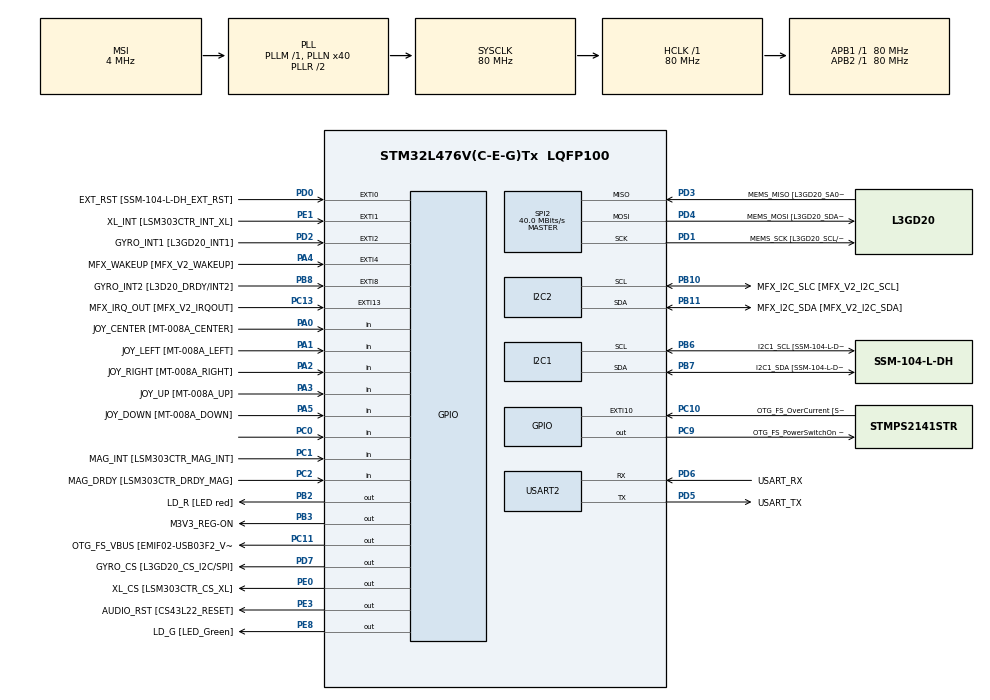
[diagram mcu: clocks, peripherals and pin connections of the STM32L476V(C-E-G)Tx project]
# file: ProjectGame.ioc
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FREERTOS.BinarySemaphores01=myBinarySem01,Static,myBinarySem01ControlBlock
FREERTOS.Tasks01=defaultTask,24,256,StartDefaultTask,Default,NULL,Dynamic,NULL,NULL;myTask02,8,256,StartTask02,Default,NULL,Dynamic,NULL,NULL
FREERTOS.configMINIMAL_STACK_SIZE=256
FREERTOS.configTOTAL_HEAP_SIZE=15000
I2C1.Timing=0x10909CEC
I2C2.Timing=0x10909CEC
Mcu.Family=STM32L4
Mcu.Name=STM32L476V(C-E-G)Tx
Mcu.Package=LQFP100
NVIC.PriorityGroup=NVIC_PRIORITYGROUP_4
NVIC.TIM1_UP_TIM16_IRQn=true\:0\:0\:false\:false\:true\:false\:false\:true
NVIC.TIM2_IRQn=true\:5\:0\:false\:false\:true\:true\:true\:true
NVIC.TimeBase=TIM1_UP_TIM16_IRQn
NVIC.TimeBaseIP=TIM1
PA0.GPIO_Label=JOY_CENTER [MT-008A_CENTER]
PA0.GPIO_Mode=GPIO_MODE_INPUT
PA0.GPIO_PuPd=GPIO_PULLDOWN
PA0.Signal=GPIO_Input
PA1.GPIO_Label=JOY_LEFT [MT-008A_LEFT]
PA1.GPIO_Mode=GPIO_MODE_INPUT
PA1.GPIO_PuPd=GPIO_PULLDOWN
PA1.Signal=GPIO_Input
PA10.GPIO_Label=COM2 [GH08172T_COM2]
PA10.GPIO_Mode=GPIO_MODE_AF_PP
PA10.GPIO_PuPd=GPIO_NOPULL
PA10.GPIO_Speed=GPIO_SPEED_FREQ_LOW
PA10.Signal=LCD_COM2
PA11.GPIO_Label=OTG_FS_DM [EMIF02-USB03F2_D-out]
PA11.GPIO_Mode=GPIO_MODE_AF_PP
PA11.GPIO_PuPd=GPIO_NOPULL
PA11.GPIO_Speed=GPIO_SPEED_FREQ_VERY_HIGH
PA11.Signal=USB_OTG_FS_DM
PA12.GPIO_Label=OTG_FS_DP [EMIF02-USB03F2_D+out]
PA12.GPIO_Mode=GPIO_MODE_AF_PP
PA12.GPIO_PuPd=GPIO_NOPULL
PA12.GPIO_Speed=GPIO_SPEED_FREQ_VERY_HIGH
PA12.Signal=USB_OTG_FS_DP
PA13\ (JTMS-SWDIO).GPIO_Label=SWDIO
PA13\ (JTMS-SWDIO).Mode=Serial_Wire
PA13\ (JTMS-SWDIO).Signal=SYS_JTMS-SWDIO
PA14\ (JTCK-SWCLK).GPIO_Label=SWCLK
PA14\ (JTCK-SWCLK).Mode=Serial_Wire
PA14\ (JTCK-SWCLK).Signal=SYS_JTCK-SWCLK
PA15\ (JTDI).GPIO_Label=SEG10 [GH08172T_SEG10]
PA15\ (JTDI).GPIO_Mode=GPIO_MODE_AF_PP
PA15\ (JTDI).GPIO_PuPd=GPIO_NOPULL
PA15\ (JTDI).GPIO_Speed=GPIO_SPEED_FREQ_LOW
PA15\ (JTDI).Signal=LCD_SEG17
PA2.GPIO_Label=JOY_RIGHT [MT-008A_RIGHT]
PA2.GPIO_Mode=GPIO_MODE_INPUT
PA2.GPIO_PuPd=GPIO_PULLDOWN
PA2.Signal=GPIO_Input
PA3.GPIO_Label=JOY_UP [MT-008A_UP]
PA3.GPIO_Mode=GPIO_MODE_INPUT
PA3.GPIO_PuPd=GPIO_PULLDOWN
PA3.Signal=GPIO_Input
PA4.GPIO_Label=MFX_WAKEUP [MFX_V2_WAKEUP]
PA4.GPIO_ModeDefaultEXTI=GPIO_MODE_EVT_RISING
PA4.GPIO_PuPd=GPIO_NOPULL
PA4.Signal=GPXTI4
PA5.GPIO_Label=JOY_DOWN [MT-008A_DOWN]
PA5.GPIO_Mode=GPIO_MODE_INPUT
PA5.GPIO_PuPd=GPIO_PULLDOWN
PA5.Signal=GPIO_Input
PA6.GPIO_Label=SEG23 [GH08172T_SEG23]
PA6.GPIO_Mode=GPIO_MODE_AF_PP
PA6.GPIO_PuPd=GPIO_NOPULL
PA6.GPIO_Speed=GPIO_SPEED_FREQ_LOW
PA6.Signal=LCD_SEG3
PA7.GPIO_Label=SEG0 [GH08172T_SEG0]
PA7.GPIO_Mode=GPIO_MODE_AF_PP
PA7.GPIO_PuPd=GPIO_NOPULL
PA7.GPIO_Speed=GPIO_SPEED_FREQ_LOW
PA7.Signal=LCD_SEG4
PA8.GPIO_Label=COM0 [GH08172T_COM0]
PA8.GPIO_Mode=GPIO_MODE_AF_PP
PA8.GPIO_PuPd=GPIO_NOPULL
PA8.GPIO_Speed=GPIO_SPEED_FREQ_LOW
PA8.Signal=LCD_COM0
PA9.GPIO_Label=COM1 [GH08172T_COM1]
PA9.GPIO_Mode=GPIO_MODE_AF_PP
PA9.GPIO_PuPd=GPIO_NOPULL
PA9.GPIO_Speed=GPIO_SPEED_FREQ_LOW
PA9.Signal=LCD_COM1
PB0.GPIO_Label=SEG21 [GH08172T_SEG21]
PB0.GPIO_Mode=GPIO_MODE_AF_PP
PB0.GPIO_PuPd=GPIO_NOPULL
PB0.GPIO_Speed=GPIO_SPEED_FREQ_LOW
PB0.Signal=LCD_SEG5
PB1.GPIO_Label=SEG2 [GH08172T_SEG2]
PB1.GPIO_Mode=GPIO_MODE_AF_PP
PB1.GPIO_PuPd=GPIO_NOPULL
PB1.GPIO_Speed=GPIO_SPEED_FREQ_LOW
PB1.Signal=LCD_SEG6
PB10.GPIO_Label=MFX_I2C_SLC [MFX_V2_I2C_SCL]
PB10.GPIO_Mode=GPIO_MODE_AF_OD
PB10.GPIO_PuPdOD=GPIO_PULLUP
PB10.GPIO_Speed=GPIO_SPEED_FREQ_VERY_HIGH
PB10.Mode=I2C
PB10.Signal=I2C2_SCL
PB11.GPIO_Label=MFX_I2C_SDA [MFX_V2_I2C_SDA]
PB11.GPIO_Mode=GPIO_MODE_AF_OD
PB11.GPIO_PuPdOD=GPIO_PULLUP
PB11.GPIO_Speed=GPIO_SPEED_FREQ_VERY_HIGH
PB11.Mode=I2C
PB11.Signal=I2C2_SDA
PB12.GPIO_Label=SEG20 [GH08172T_SEG20]
PB12.GPIO_Mode=GPIO_MODE_AF_PP
PB12.GPIO_PuPd=GPIO_NOPULL
PB12.GPIO_Speed=GPIO_SPEED_FREQ_LOW
PB12.Signal=LCD_SEG12
PB13.GPIO_Label=SEG3 [GH08172T_SEG3]
PB13.GPIO_Mode=GPIO_MODE_AF_PP
PB13.GPIO_PuPd=GPIO_NOPULL
PB13.GPIO_Speed=GPIO_SPEED_FREQ_LOW
PB13.Signal=LCD_SEG13
PB14.GPIO_Label=SEG19 [GH08172T_SEG19]
PB14.GPIO_Mode=GPIO_MODE_AF_PP
PB14.GPIO_PuPd=GPIO_NOPULL
PB14.GPIO_Speed=GPIO_SPEED_FREQ_LOW
PB14.Signal=LCD_SEG14
PB15.GPIO_Label=SEG4 [GH08172T_SEG4]
PB15.GPIO_Mode=GPIO_MODE_AF_PP
PB15.GPIO_PuPd=GPIO_NOPULL
PB15.GPIO_Speed=GPIO_SPEED_FREQ_LOW
PB15.Signal=LCD_SEG15
PB2.GPIO_Label=LD_R [LED red]
PB2.GPIO_ModeDefaultOutputPP=GPIO_MODE_OUTPUT_PP
PB2.GPIO_PuPd=GPIO_PULLUP
PB2.GPIO_Speed=GPIO_SPEED_FREQ_VERY_HIGH
PB2.Signal=GPIO_Output
PB3\ (JTDO-TRACESWO).GPIO_Label=M3V3_REG-ON
PB3\ (JTDO-TRACESWO).GPIO_ModeDefaultOutputPP=GPIO_MODE_OUTPUT_PP
PB3\ (JTDO-TRACESWO).GPIO_PuPd=GPIO_NOPULL
PB3\ (JTDO-TRACESWO).GPIO_Speed=GPIO_SPEED_FREQ_LOW
PB3\ (JTDO-TRACESWO).Signal=GPIO_Output
PB4\ (NJTRST).GPIO_Label=SEG11 [GH08172T_SEG11]
PB4\ (NJTRST).GPIO_Mode=GPIO_MODE_AF_PP
PB4\ (NJTRST).GPIO_PuPd=GPIO_NOPULL
PB4\ (NJTRST).GPIO_Speed=GPIO_SPEED_FREQ_LOW
PB4\ (NJTRST).Signal=LCD_SEG8
PB5.GPIO_Label=SEG12 [GH08172T_SEG12]
PB5.GPIO_Mode=GPIO_MODE_AF_PP
PB5.GPIO_PuPd=GPIO_NOPULL
PB5.GPIO_Speed=GPIO_SPEED_FREQ_LOW
PB5.Signal=LCD_SEG9
PB6.GPIO_FM6=__NULL
PB6.GPIO_Label=I2C1_SCL [SSM-104-L-DH_SCL]
PB6.GPIO_Mode=GPIO_MODE_AF_OD
PB6.GPIO_PuPdOD=GPIO_PULLUP
PB6.GPIO_Speed=GPIO_SPEED_FREQ_VERY_HIGH
PB6.Mode=I2C
PB6.Signal=I2C1_SCL
PB7.GPIO_FM7=__NULL
PB7.GPIO_Label=I2C1_SDA [SSM-104-L-DH_SDA]
PB7.GPIO_Mode=GPIO_MODE_AF_OD
PB7.GPIO_PuPdOD=GPIO_PULLUP
PB7.GPIO_Speed=GPIO_SPEED_FREQ_VERY_HIGH
PB7.Mode=I2C
PB7.Signal=I2C1_SDA
PB8.GPIO_Label=GYRO_INT2 [L3D20_DRDY/INT2]
PB8.GPIO_ModeDefaultEXTI=GPIO_MODE_EVT_RISING
PB8.GPIO_PuPd=GPIO_NOPULL
PB8.Signal=GPXTI8
PB9.GPIO_FM9=__NULL
PB9.GPIO_Label=COM3 [GH08172T_COM3]
PB9.GPIO_Mode=GPIO_MODE_AF_PP
PB9.GPIO_PuPd=GPIO_NOPULL
PB9.GPIO_Speed=GPIO_SPEED_FREQ_LOW
PB9.Signal=LCD_COM3
PC0.Signal=GPIO_Input
PC1.GPIO_Label=MAG_INT [LSM303CTR_MAG_INT]
PC1.GPIO_Mode=GPIO_MODE_INPUT
PC1.GPIO_PuPd=GPIO_NOPULL
PC1.Signal=GPIO_Input
PC10.GPIO_Label=OTG_FS_OverCurrent [STMPS2141STR_FAULT]
PC10.GPIO_ModeDefaultEXTI=GPIO_MODE_EVT_RISING
PC10.GPIO_PuPd=GPIO_NOPULL
PC10.Signal=GPXTI10
PC11.GPIO_Label=OTG_FS_VBUS [EMIF02-USB03F2_Vbus]
PC11.GPIO_ModeDefaultOutputPP=GPIO_MODE_OUTPUT_PP
PC11.GPIO_PuPd=GPIO_NOPULL
PC11.GPIO_Speed=GPIO_SPEED_FREQ_LOW
PC11.Signal=GPIO_Output
PC13.GPIO_Label=MFX_IRQ_OUT [MFX_V2_IRQOUT]
PC13.GPIO_ModeDefaultEXTI=GPIO_MODE_EVT_RISING
PC13.GPIO_PuPd=GPIO_NOPULL
PC13.Signal=GPXTI13
PC14-OSC32_IN\ (PC14).Mode=LSE-External-Oscillator
PC14-OSC32_IN\ (PC14).Signal=RCC_OSC32_IN
PC15-OSC32_OUT\ (PC15).Mode=LSE-External-Oscillator
PC15-OSC32_OUT\ (PC15).Signal=RCC_OSC32_OUT
PC2.GPIO_Label=MAG_DRDY [LSM303CTR_DRDY_MAG]
PC2.GPIO_Mode=GPIO_MODE_INPUT
PC2.GPIO_PuPd=GPIO_NOPULL
PC2.Signal=GPIO_Input
PC3.GPIO_Label=VLCD
PC3.GPIO_Mode=GPIO_MODE_AF_PP
PC3.GPIO_PuPd=GPIO_NOPULL
PC3.GPIO_Speed=GPIO_SPEED_FREQ_LOW
PC3.Signal=LCD_VLCD
PC4.GPIO_Label=SEG22 [GH08172T_SEG22]
PC4.GPIO_Mode=GPIO_MODE_AF_PP
PC4.GPIO_PuPd=GPIO_NOPULL
PC4.GPIO_Speed=GPIO_SPEED_FREQ_LOW
PC4.Signal=LCD_SEG22
PC5.GPIO_Label=SEG1 [GH08172T_SEG1]
PC5.GPIO_Mode=GPIO_MODE_AF_PP
PC5.GPIO_PuPd=GPIO_NOPULL
PC5.GPIO_Speed=GPIO_SPEED_FREQ_LOW
PC5.Signal=LCD_SEG23
PC6.GPIO_Label=SEG14 [GH08172T_SEG14]
PC6.GPIO_Mode=GPIO_MODE_AF_PP
PC6.GPIO_PuPd=GPIO_NOPULL
PC6.GPIO_Speed=GPIO_SPEED_FREQ_LOW
PC6.Signal=LCD_SEG24
PC7.GPIO_Label=SEG9 [GH08172T_SEG9]
PC7.GPIO_Mode=GPIO_MODE_AF_PP
PC7.GPIO_PuPd=GPIO_NOPULL
PC7.GPIO_Speed=GPIO_SPEED_FREQ_LOW
PC7.Signal=LCD_SEG25
PC8.GPIO_Label=SEG13 [GH08172T_SEG13]
PC8.GPIO_Mode=GPIO_MODE_AF_PP
PC8.GPIO_PuPd=GPIO_NOPULL
PC8.GPIO_Speed=GPIO_SPEED_FREQ_LOW
PC8.Signal=LCD_SEG26
PC9.GPIO_Label=OTG_FS_PowerSwitchOn [STMPS2141STR_EN]
PC9.GPIO_ModeDefaultOutputPP=GPIO_MODE_OUTPUT_PP
PC9.GPIO_PuPd=GPIO_NOPULL
PC9.GPIO_Speed=GPIO_SPEED_FREQ_LOW
PC9.PinState=GPIO_PIN_SET
PC9.Signal=GPIO_Output
PD0.GPIO_Label=EXT_RST [SSM-104-L-DH_EXT_RST]
PD0.GPIO_ModeDefaultEXTI=GPIO_MODE_EVT_RISING
PD0.GPIO_PuPd=GPIO_NOPULL
PD0.Signal=GPXTI0
PD1.GPIO_Label=MEMS_SCK [L3GD20_SCL/SPC]
PD1.GPIO_Mode=GPIO_MODE_AF_PP
PD1.GPIO_PuPd=GPIO_NOPULL
PD1.GPIO_Speed=GPIO_SPEED_FREQ_VERY_HIGH
PD1.Mode=Full_Duplex_Master
PD1.Signal=SPI2_SCK
PD10.GPIO_Label=SEG17 [GH08172T_SEG17]
PD10.GPIO_Mode=GPIO_MODE_AF_PP
PD10.GPIO_PuPd=GPIO_NOPULL
PD10.GPIO_Speed=GPIO_SPEED_FREQ_LOW
PD10.Signal=LCD_SEG30
PD11.GPIO_Label=SEG6 [GH08172T_SEG6]
PD11.GPIO_Mode=GPIO_MODE_AF_PP
PD11.GPIO_PuPd=GPIO_NOPULL
PD11.GPIO_Speed=GPIO_SPEED_FREQ_LOW
PD11.Signal=LCD_SEG31
PD12.GPIO_Label=SEG16 [GH08172T_SEG16]
PD12.GPIO_Mode=GPIO_MODE_AF_PP
PD12.GPIO_PuPd=GPIO_NOPULL
PD12.GPIO_Speed=GPIO_SPEED_FREQ_LOW
PD12.Signal=LCD_SEG32
PD13.GPIO_Label=SEG7 [GH08172T_SEG7]
PD13.GPIO_Mode=GPIO_MODE_AF_PP
PD13.GPIO_PuPd=GPIO_NOPULL
PD13.GPIO_Speed=GPIO_SPEED_FREQ_LOW
PD13.Signal=LCD_SEG33
PD14.GPIO_Label=SEG15 [GH08172T_SEG15]
PD14.GPIO_Mode=GPIO_MODE_AF_PP
PD14.GPIO_PuPd=GPIO_NOPULL
PD14.GPIO_Speed=GPIO_SPEED_FREQ_LOW
PD14.Signal=LCD_SEG34
PD15.GPIO_Label=SEG8 [GH08172T_SEG8]
PD15.GPIO_Mode=GPIO_MODE_AF_PP
PD15.GPIO_PuPd=GPIO_NOPULL
PD15.GPIO_Speed=GPIO_SPEED_FREQ_LOW
PD15.Signal=LCD_SEG35
PD2.GPIO_Label=GYRO_INT1 [L3GD20_INT1]
PD2.GPIO_ModeDefaultEXTI=GPIO_MODE_EVT_RISING
PD2.GPIO_PuPd=GPIO_NOPULL
PD2.Signal=GPXTI2
PD3.GPIO_Label=MEMS_MISO [L3GD20_SA0/SDO]
PD3.GPIO_Mode=GPIO_MODE_AF_PP
PD3.GPIO_PuPd=GPIO_NOPULL
PD3.GPIO_Speed=GPIO_SPEED_FREQ_VERY_HIGH
PD3.Mode=Full_Duplex_Master
PD3.Signal=SPI2_MISO
PD4.GPIO_Label=MEMS_MOSI [L3GD20_SDA/SDI/SDO]
PD4.GPIO_Mode=GPIO_MODE_AF_PP
PD4.GPIO_PuPd=GPIO_NOPULL
PD4.GPIO_Speed=GPIO_SPEED_FREQ_VERY_HIGH
PD4.Mode=Full_Duplex_Master
PD4.Signal=SPI2_MOSI
PD5.GPIO_Label=USART_TX
PD5.GPIO_Mode=GPIO_MODE_AF_PP
PD5.GPIO_PuPd=GPIO_PULLUP
PD5.GPIO_Speed=GPIO_SPEED_FREQ_VERY_HIGH
PD5.Mode=Asynchronous
PD5.Signal=USART2_TX
PD6.GPIO_Label=USART_RX
PD6.GPIO_Mode=GPIO_MODE_AF_PP
PD6.GPIO_PuPd=GPIO_PULLUP
PD6.GPIO_Speed=GPIO_SPEED_FREQ_VERY_HIGH
PD6.Mode=Asynchronous
PD6.Signal=USART2_RX
PD7.GPIO_Label=GYRO_CS [L3GD20_CS_I2C/SPI]
PD7.GPIO_ModeDefaultOutputPP=GPIO_MODE_OUTPUT_PP
PD7.GPIO_PuPd=GPIO_NOPULL
PD7.GPIO_Speed=GPIO_SPEED_FREQ_VERY_HIGH
PD7.Signal=GPIO_Output
PD8.GPIO_Label=SEG18 [GH08172T_SEG18]
PD8.GPIO_Mode=GPIO_MODE_AF_PP
PD8.GPIO_PuPd=GPIO_NOPULL
PD8.GPIO_Speed=GPIO_SPEED_FREQ_LOW
PD8.Signal=LCD_SEG28
PD9.GPIO_Label=SEG5 [GH08172T_SEG5]
PD9.GPIO_Mode=GPIO_MODE_AF_PP
PD9.GPIO_PuPd=GPIO_NOPULL
PD9.GPIO_Speed=GPIO_SPEED_FREQ_LOW
PD9.Signal=LCD_SEG29
PE0.GPIO_Label=XL_CS [LSM303CTR_CS_XL]
PE0.GPIO_ModeDefaultOutputPP=GPIO_MODE_OUTPUT_PP
PE0.GPIO_PuPd=GPIO_NOPULL
PE0.GPIO_Speed=GPIO_SPEED_FREQ_LOW
PE0.Signal=GPIO_Output
PE1.GPIO_Label=XL_INT [LSM303CTR_INT_XL]
PE1.GPIO_ModeDefaultEXTI=GPIO_MODE_EVT_RISING
PE1.GPIO_PuPd=GPIO_NOPULL
PE1.Signal=GPXTI1
PE10.GPIO_Label=QSPI_CLK [N25Q128A13EF840E_C]
PE10.GPIO_Mode=GPIO_MODE_AF_PP
PE10.GPIO_PuPd=GPIO_NOPULL
PE10.GPIO_Speed=GPIO_SPEED_FREQ_VERY_HIGH
PE10.Signal=QUADSPI_CLK
PE11.GPIO_Label=QSPI_CS [N25Q128A13EF840E_S\#]
PE11.GPIO_Mode=GPIO_MODE_AF_PP
PE11.GPIO_PuPd=GPIO_NOPULL
PE11.GPIO_Speed=GPIO_SPEED_FREQ_VERY_HIGH
PE11.Signal=QUADSPI_NCS
PE12.GPIO_Label=QSPI_D0 [N25Q128A13EF840E_DQ0]
PE12.GPIO_Mode=GPIO_MODE_AF_PP
PE12.GPIO_PuPd=GPIO_NOPULL
PE12.GPIO_Speed=GPIO_SPEED_FREQ_VERY_HIGH
PE12.Signal=QUADSPI_BK1_IO0
PE13.GPIO_Label=QSPI_D1 [N25Q128A13EF840E_DQ1]
PE13.GPIO_Mode=GPIO_MODE_AF_PP
PE13.GPIO_PuPd=GPIO_NOPULL
PE13.GPIO_Speed=GPIO_SPEED_FREQ_VERY_HIGH
PE13.Signal=QUADSPI_BK1_IO1
PE14.GPIO_Label=QSPI_D2 [N25Q128A13EF840E_DQ2]
PE14.GPIO_Mode=GPIO_MODE_AF_PP
PE14.GPIO_PuPd=GPIO_NOPULL
PE14.GPIO_Speed=GPIO_SPEED_FREQ_VERY_HIGH
PE14.Signal=QUADSPI_BK1_IO2
PE15.GPIO_Label=QSPI_D3 [N25Q128A13EF840E_DQ3]
PE15.GPIO_Mode=GPIO_MODE_AF_PP
PE15.GPIO_PuPd=GPIO_NOPULL
PE15.GPIO_Speed=GPIO_SPEED_FREQ_VERY_HIGH
PE15.Signal=QUADSPI_BK1_IO3
PE2.GPIO_Label=SAI1_MCK [CS43L22_MCLK]
PE2.GPIO_Mode=GPIO_MODE_AF_PP
PE2.GPIO_PuPd=GPIO_NOPULL
PE2.GPIO_Speed=GPIO_SPEED_FREQ_VERY_HIGH
PE2.Signal=SAI1_MCLK_A
PE3.GPIO_Label=AUDIO_RST [CS43L22_RESET]
PE3.GPIO_ModeDefaultOutputPP=GPIO_MODE_OUTPUT_PP
PE3.GPIO_PuPd=GPIO_NOPULL
PE3.GPIO_Speed=GPIO_SPEED_FREQ_HIGH
PE3.Signal=GPIO_Output
PE4.GPIO_Label=SAI1_FS [CS43L22_LRCK]
PE4.GPIO_Mode=GPIO_MODE_AF_PP
PE4.GPIO_PuPd=GPIO_NOPULL
PE4.GPIO_Speed=GPIO_SPEED_FREQ_VERY_HIGH
PE4.Signal=SAI1_FS_A
PE5.GPIO_Label=SAI1_SCK [CS43L22_SCLK]
PE5.GPIO_Mode=GPIO_MODE_AF_PP
PE5.GPIO_PuPd=GPIO_NOPULL
PE5.GPIO_Speed=GPIO_SPEED_FREQ_VERY_HIGH
PE5.Signal=SAI1_SCK_A
PE6.GPIO_Label=SAI1_SD [CS43L22_SDIN]
PE6.GPIO_Mode=GPIO_MODE_AF_PP
PE6.GPIO_PuPd=GPIO_NOPULL
PE6.GPIO_Speed=GPIO_SPEED_FREQ_VERY_HIGH
PE6.Signal=SAI1_SD_A
PE7.GPIO_Label=AUDIO_DIN [MP34DT01_DOUT]
PE7.GPIO_Mode=GPIO_MODE_AF_PP
PE7.GPIO_PuPd=GPIO_NOPULL
PE7.GPIO_Speed=GPIO_SPEED_FREQ_VERY_HIGH
PE7.Signal=SAI1_SD_B
PE8.GPIO_Label=LD_G [LED_Green]
PE8.GPIO_ModeDefaultOutputPP=GPIO_MODE_OUTPUT_PP
PE8.GPIO_PuPd=GPIO_PULLUP
PE8.GPIO_Speed=GPIO_SPEED_FREQ_VERY_HIGH
PE8.Signal=GPIO_Output
PE9.GPIO_Label=AUDIO_CLK [MP34DT01_CLK]
PE9.GPIO_Mode=GPIO_MODE_AF_PP
PE9.GPIO_PuPd=GPIO_NOPULL
PE9.GPIO_Speed=GPIO_SPEED_FREQ_LOW
PE9.Signal=SAI1_FS_B
PH0-OSC_IN\ (PH0).Mode=HSE-External-Oscillator
PH0-OSC_IN\ (PH0).Signal=RCC_OSC_IN
PH1-OSC_OUT\ (PH1).Mode=HSE-External-Oscillator
PH1-OSC_OUT\ (PH1).Signal=RCC_OSC_OUT
ProjectManager.HeapSize=0x200
ProjectManager.StackSize=0x400
ProjectManager.TargetToolchain=STM32CubeIDE
RCC.ADCFreq_Value=32000000
RCC.AHBFreq_Value=80000000
RCC.APB1Freq_Value=80000000
RCC.APB1TimFreq_Value=80000000
RCC.APB2Freq_Value=80000000
RCC.APB2TimFreq_Value=80000000
RCC.CortexFreq_Value=80000000
RCC.HCLKFreq_Value=80000000
RCC.HSE_VALUE=8000000
RCC.HSI_VALUE=16000000
RCC.MSI_VALUE=4000000
RCC.PLLN=40
RCC.PLLSAI1N=16
RCC.PREFETCH_ENABLE=1
RCC.SYSCLKFreq_VALUE=80000000
RCC.SYSCLKSource=RCC_SYSCLKSOURCE_PLLCLK
RCC.USBFreq_Value=32000000
RCC.VCOOutputFreq_Value=160000000
SPI2.CalculateBaudRate=40.0 MBits/s
SPI2.Direction=SPI_DIRECTION_2LINES
SPI2.Mode=SPI_MODE_MASTER
SPI2.VirtualType=VM_MASTER
TIM2.AutoReloadPreload=TIM_AUTORELOAD_PRELOAD_ENABLE
TIM2.Period=100
TIM2.Prescaler=7999
USART2.VirtualMode-Asynchronous=VM_ASYNC
VP_FREERTOS_VS_CMSIS_V2.Mode=CMSIS_V2
VP_RNG_VS_RNG.Mode=RNG_Activate
VP_SYS_VS_tim1.Mode=TIM1
VP_TIM2_VS_ClockSourceINT.Mode=Internal
board=STM32L476G-DISCO

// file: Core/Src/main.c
/* USER CODE BEGIN Header */
/**
  ******************************************************************************
  * @file           : main.c
  * @brief          : Main program body
  ******************************************************************************
  * @attention
  *
  * <h2><center>&copy; Copyright (c) 2020 STMicroelectronics.
  * All rights reserved.</center></h2>
  *
  * This software component is licensed by ST under Ultimate Liberty license
  * SLA0044, the "License"; You may not use this file except in compliance with
  * the License. You may obtain a copy of the License at:
  *                             www.st.com/SLA0044
  *
  ******************************************************************************
  */
/* USER CODE END Header */

#include "main.h"
#include "cmsis_os.h"

/* USER CODE BEGIN Includes */
#include <stdio.h>
#include <string.h>
#include <math.h>

#include "game.h"
#include "stm32l476g_discovery.h"
#include "stm32l476g_discovery_gyroscope.h"
/* USER CODE END Includes */

typedef StaticSemaphore_t osStaticSemaphoreDef_t;

/* USER CODE BEGIN PD */
#define UART_BUFFER_SIZE (80)

/* USER CODE END PD */

I2C_HandleTypeDef hi2c1;
I2C_HandleTypeDef hi2c2;

RNG_HandleTypeDef hrng;

SPI_HandleTypeDef hspi2;

TIM_HandleTypeDef htim2;

UART_HandleTypeDef huart2;

/* Definitions for defaultTask */
osThreadId_t defaultTaskHandle;
const osThreadAttr_t defaultTask_attributes = {
  .name = "defaultTask",
  .priority = (osPriority_t) osPriorityNormal,
  .stack_size = 256 * 4
};
/* Definitions for myTask02 */
osThreadId_t myTask02Handle;
const osThreadAttr_t myTask02_attributes = {
  .name = "myTask02",
  .priority = (osPriority_t) osPriorityLow,
  .stack_size = 256 * 4
};
/* Definitions for myBinarySem01 */
osSemaphoreId_t myBinarySem01Handle;
osStaticSemaphoreDef_t myBinarySem01ControlBlock;
const osSemaphoreAttr_t myBinarySem01_attributes = {
  .name = "myBinarySem01",
  .cb_mem = &myBinarySem01ControlBlock,
  .cb_size = sizeof(myBinarySem01ControlBlock),
};
/* USER CODE BEGIN PV */
float gbl_buffer[3] = {0};
//volatile uint32_t master_tick = 0;
uint8_t gbl_uart2_transmitBuffer[UART_BUFFER_SIZE];
uint8_t gbl_uart2_receiveBuffer[UART_BUFFER_SIZE];
volatile char game_board[BOARD_HEIGHT][BOARD_WIDTH+1];
volatile Total_MovementS movements;
volatile PositionsS positions;
volatile int calced_x;
volatile int calced_y;
/* USER CODE END PV */

void SystemClock_Config(void);
static void MX_GPIO_Init(void);
static void MX_I2C1_Init(void);
static void MX_I2C2_Init(void);
static void MX_RNG_Init(void);
static void MX_SPI2_Init(void);
static void MX_USART2_UART_Init(void);
static void MX_TIM2_Init(void);
void StartDefaultTask(void *argument);
void StartTask02(void *argument);

/* USER CODE BEGIN 0 */

/**
 * Sets the home cursor at the current location
 */
void set_home(void)
{
	sprintf((char*)gbl_uart2_transmitBuffer,"\x1b[s");
	HAL_UART_Transmit(&huart2, gbl_uart2_transmitBuffer, strlen((char *)gbl_uart2_transmitBuffer),100);
}
/**
 * Sets the cursor the the previously set home position
 */
void return_home(void)
{
	sprintf((char*)gbl_uart2_transmitBuffer,"\x1b[u");
	HAL_UART_Transmit(&huart2, gbl_uart2_transmitBuffer, strlen((char *)gbl_uart2_transmitBuffer),100);
}

/**
 * Moves the cursor the left or right based on x and up or down based on y.
 */
void move_cursor(int x, int y)
{
	// Move cursor forward
	if (x > 0)
	{
		sprintf((char*)gbl_uart2_transmitBuffer,"\x1b[%dC",abs(x));
		HAL_UART_Transmit(&huart2, gbl_uart2_transmitBuffer, strlen((char *)gbl_uart2_transmitBuffer),100);
	}
	// Move cursor backward
	else if (x< 0)
	{
		sprintf((char*)gbl_uart2_transmitBuffer,"\x1b[%dD",abs(x));
		HAL_UART_Transmit(&huart2, gbl_uart2_transmitBuffer, strlen((char *)gbl_uart2_transmitBuffer),100);
	}
	// Move cursor up
	if (y > 0)
	{
		sprintf((char*)gbl_uart2_transmitBuffer,"\x1b[%dA",abs(y));
		HAL_UART_Transmit(&huart2, gbl_uart2_transmitBuffer, strlen((char *)gbl_uart2_transmitBuffer),100);
	}
	// Move cursor down
	else if (y < 0)
	{
		sprintf((char*)gbl_uart2_transmitBuffer,"\x1b[%dB",abs(y));
		HAL_UART_Transmit(&huart2, gbl_uart2_transmitBuffer, strlen((char *)gbl_uart2_transmitBuffer),100);
	}

}

/**
 * Moves the cursor to the given x and y and then replaces the character with update_char
 * Top left most unit is (1,1)
 */
void draw_char(int x, int y, char update_char)
{
	return_home();
	int true_x = x - 1;
	int true_y = (y*-1) + 1;
	move_cursor(true_x,true_y);
	sprintf((char*)gbl_uart2_transmitBuffer,"\x7F%c",update_char);
	HAL_UART_Transmit(&huart2, gbl_uart2_transmitBuffer, strlen((char *)gbl_uart2_transmitBuffer),100);

	return_home();
}
/* USER CODE END 0 */

int main(void)
{

  /* MCU Configuration--------------------------------------------------------*/

  /* Reset of all peripherals, Initializes the Flash interface and the Systick. */
  HAL_Init();

  /* Configure the system clock */
  SystemClock_Config();

  /* Initialize all configured peripherals */
  MX_GPIO_Init();
  MX_I2C1_Init();
  MX_I2C2_Init();
  MX_RNG_Init();
  MX_SPI2_Init();
  MX_USART2_UART_Init();
  MX_TIM2_Init();
  /* USER CODE BEGIN 2 */
  HAL_TIM_Base_Start_IT(&htim2);
	/* Init the uart Buffers */
	for (unsigned char i = 0; i < UART_BUFFER_SIZE; i++)  {
       gbl_uart2_transmitBuffer[i] = '0' + i;
       gbl_uart2_receiveBuffer[i] = 0;
    }
	sprintf((char*)gbl_uart2_transmitBuffer,"Project Game Startup\a\n\r");
	HAL_UART_Transmit(&huart2, gbl_uart2_transmitBuffer, strlen((char *)gbl_uart2_transmitBuffer),100);

  /* USER CODE END 2 */

  /* Init scheduler */
  osKernelInitialize();

  /* Create the semaphores(s) */
  /* creation of myBinarySem01 */
  myBinarySem01Handle = osSemaphoreNew(1, 1, &myBinarySem01_attributes);

  /* Create the thread(s) */
  /* creation of defaultTask */
  defaultTaskHandle = osThreadNew(StartDefaultTask, NULL, &defaultTask_attributes);

  /* creation of myTask02 */
  myTask02Handle = osThreadNew(StartTask02, NULL, &myTask02_attributes);

  /* Start scheduler */
  osKernelStart();

  /* We should never get here as control is now taken by the scheduler */
  /* Infinite loop */
  while (1)
  {

  }
}

void SystemClock_Config(void)
{
  RCC_OscInitTypeDef RCC_OscInitStruct = {0};
  RCC_ClkInitTypeDef RCC_ClkInitStruct = {0};
  RCC_PeriphCLKInitTypeDef PeriphClkInit = {0};

  /** Configure LSE Drive Capability
  */
  HAL_PWR_EnableBkUpAccess();
  __HAL_RCC_LSEDRIVE_CONFIG(RCC_LSEDRIVE_LOW);
  /** Initializes the CPU, AHB and APB busses clocks
  */
  RCC_OscInitStruct.OscillatorType = RCC_OSCILLATORTYPE_LSE|RCC_OSCILLATORTYPE_MSI;
  RCC_OscInitStruct.LSEState = RCC_LSE_ON;
  RCC_OscInitStruct.MSIState = RCC_MSI_ON;
  RCC_OscInitStruct.MSICalibrationValue = 0;
  RCC_OscInitStruct.MSIClockRange = RCC_MSIRANGE_6;
  RCC_OscInitStruct.PLL.PLLState = RCC_PLL_ON;
  RCC_OscInitStruct.PLL.PLLSource = RCC_PLLSOURCE_MSI;
  RCC_OscInitStruct.PLL.PLLM = 1;
  RCC_OscInitStruct.PLL.PLLN = 40;
  RCC_OscInitStruct.PLL.PLLP = RCC_PLLP_DIV7;
  RCC_OscInitStruct.PLL.PLLQ = RCC_PLLQ_DIV2;
  RCC_OscInitStruct.PLL.PLLR = RCC_PLLR_DIV2;
  if (HAL_RCC_OscConfig(&RCC_OscInitStruct) != HAL_OK)
  {
    Error_Handler();
  }
  /** Initializes the CPU, AHB and APB busses clocks
  */
  RCC_ClkInitStruct.ClockType = RCC_CLOCKTYPE_HCLK|RCC_CLOCKTYPE_SYSCLK
                              |RCC_CLOCKTYPE_PCLK1|RCC_CLOCKTYPE_PCLK2;
  RCC_ClkInitStruct.SYSCLKSource = RCC_SYSCLKSOURCE_PLLCLK;
  RCC_ClkInitStruct.AHBCLKDivider = RCC_SYSCLK_DIV1;
  RCC_ClkInitStruct.APB1CLKDivider = RCC_HCLK_DIV1;
  RCC_ClkInitStruct.APB2CLKDivider = RCC_HCLK_DIV1;

  if (HAL_RCC_ClockConfig(&RCC_ClkInitStruct, FLASH_LATENCY_4) != HAL_OK)
  {
    Error_Handler();
  }
  PeriphClkInit.PeriphClockSelection = RCC_PERIPHCLK_USART2|RCC_PERIPHCLK_I2C1
                              |RCC_PERIPHCLK_I2C2|RCC_PERIPHCLK_RNG;
  PeriphClkInit.Usart2ClockSelection = RCC_USART2CLKSOURCE_PCLK1;
  PeriphClkInit.I2c1ClockSelection = RCC_I2C1CLKSOURCE_PCLK1;
  PeriphClkInit.I2c2ClockSelection = RCC_I2C2CLKSOURCE_PCLK1;
  PeriphClkInit.RngClockSelection = RCC_RNGCLKSOURCE_PLLSAI1;
  PeriphClkInit.PLLSAI1.PLLSAI1Source = RCC_PLLSOURCE_MSI;
  PeriphClkInit.PLLSAI1.PLLSAI1M = 1;
  PeriphClkInit.PLLSAI1.PLLSAI1N = 16;
  PeriphClkInit.PLLSAI1.PLLSAI1P = RCC_PLLP_DIV7;
  PeriphClkInit.PLLSAI1.PLLSAI1Q = RCC_PLLQ_DIV2;
  PeriphClkInit.PLLSAI1.PLLSAI1R = RCC_PLLR_DIV2;
  PeriphClkInit.PLLSAI1.PLLSAI1ClockOut = RCC_PLLSAI1_48M2CLK;
  if (HAL_RCCEx_PeriphCLKConfig(&PeriphClkInit) != HAL_OK)
  {
    Error_Handler();
  }
  /** Configure the main internal regulator output voltage
  */
  if (HAL_PWREx_ControlVoltageScaling(PWR_REGULATOR_VOLTAGE_SCALE1) != HAL_OK)
  {
    Error_Handler();
  }
  /** Enable MSI Auto calibration
  */
  HAL_RCCEx_EnableMSIPLLMode();
}

static void MX_I2C1_Init(void)
{

  hi2c1.Instance = I2C1;
  hi2c1.Init.Timing = 0x10909CEC;
  hi2c1.Init.OwnAddress1 = 0;
  hi2c1.Init.AddressingMode = I2C_ADDRESSINGMODE_7BIT;
  hi2c1.Init.DualAddressMode = I2C_DUALADDRESS_DISABLE;
  hi2c1.Init.OwnAddress2 = 0;
  hi2c1.Init.OwnAddress2Masks = I2C_OA2_NOMASK;
  hi2c1.Init.GeneralCallMode = I2C_GENERALCALL_DISABLE;
  hi2c1.Init.NoStretchMode = I2C_NOSTRETCH_DISABLE;
  if (HAL_I2C_Init(&hi2c1) != HAL_OK)
  {
    Error_Handler();
  }
  /** Configure Analogue filter
  */
  if (HAL_I2CEx_ConfigAnalogFilter(&hi2c1, I2C_ANALOGFILTER_ENABLE) != HAL_OK)
  {
    Error_Handler();
  }
  /** Configure Digital filter
  */
  if (HAL_I2CEx_ConfigDigitalFilter(&hi2c1, 0) != HAL_OK)
  {
    Error_Handler();
  }

}

static void MX_I2C2_Init(void)
{

  hi2c2.Instance = I2C2;
  hi2c2.Init.Timing = 0x10909CEC;
  hi2c2.Init.OwnAddress1 = 0;
  hi2c2.Init.AddressingMode = I2C_ADDRESSINGMODE_7BIT;
  hi2c2.Init.DualAddressMode = I2C_DUALADDRESS_DISABLE;
  hi2c2.Init.OwnAddress2 = 0;
  hi2c2.Init.OwnAddress2Masks = I2C_OA2_NOMASK;
  hi2c2.Init.GeneralCallMode = I2C_GENERALCALL_DISABLE;
  hi2c2.Init.NoStretchMode = I2C_NOSTRETCH_DISABLE;
  if (HAL_I2C_Init(&hi2c2) != HAL_OK)
  {
    Error_Handler();
  }
  /** Configure Analogue filter
  */
  if (HAL_I2CEx_ConfigAnalogFilter(&hi2c2, I2C_ANALOGFILTER_ENABLE) != HAL_OK)
  {
    Error_Handler();
  }
  /** Configure Digital filter
  */
  if (HAL_I2CEx_ConfigDigitalFilter(&hi2c2, 0) != HAL_OK)
  {
    Error_Handler();
  }

}

static void MX_RNG_Init(void)
{

  hrng.Instance = RNG;
  if (HAL_RNG_Init(&hrng) != HAL_OK)
  {
    Error_Handler();
  }

}

static void MX_SPI2_Init(void)
{

  /* SPI2 parameter configuration*/
  hspi2.Instance = SPI2;
  hspi2.Init.Mode = SPI_MODE_MASTER;
  hspi2.Init.Direction = SPI_DIRECTION_2LINES;
  hspi2.Init.DataSize = SPI_DATASIZE_4BIT;
  hspi2.Init.CLKPolarity = SPI_POLARITY_LOW;
  hspi2.Init.CLKPhase = SPI_PHASE_1EDGE;
  hspi2.Init.NSS = SPI_NSS_SOFT;
  hspi2.Init.BaudRatePrescaler = SPI_BAUDRATEPRESCALER_2;
  hspi2.Init.FirstBit = SPI_FIRSTBIT_MSB;
  hspi2.Init.TIMode = SPI_TIMODE_DISABLE;
  hspi2.Init.CRCCalculation = SPI_CRCCALCULATION_DISABLE;
  hspi2.Init.CRCPolynomial = 7;
  hspi2.Init.CRCLength = SPI_CRC_LENGTH_DATASIZE;
  hspi2.Init.NSSPMode = SPI_NSS_PULSE_ENABLE;
  if (HAL_SPI_Init(&hspi2) != HAL_OK)
  {
    Error_Handler();
  }

}

static void MX_TIM2_Init(void)
{

  TIM_ClockConfigTypeDef sClockSourceConfig = {0};
  TIM_MasterConfigTypeDef sMasterConfig = {0};

  htim2.Instance = TIM2;
  htim2.Init.Prescaler = 7999;
  htim2.Init.CounterMode = TIM_COUNTERMODE_UP;
  htim2.Init.Period = 100;
  htim2.Init.ClockDivision = TIM_CLOCKDIVISION_DIV1;
  htim2.Init.AutoReloadPreload = TIM_AUTORELOAD_PRELOAD_ENABLE;
  if (HAL_TIM_Base_Init(&htim2) != HAL_OK)
  {
    Error_Handler();
  }
  sClockSourceConfig.ClockSource = TIM_CLOCKSOURCE_INTERNAL;
  if (HAL_TIM_ConfigClockSource(&htim2, &sClockSourceConfig) != HAL_OK)
  {
    Error_Handler();
  }
  sMasterConfig.MasterOutputTrigger = TIM_TRGO_RESET;
  sMasterConfig.MasterSlaveMode = TIM_MASTERSLAVEMODE_DISABLE;
  if (HAL_TIMEx_MasterConfigSynchronization(&htim2, &sMasterConfig) != HAL_OK)
  {
    Error_Handler();
  }
  /* USER CODE BEGIN TIM2_Init 2 */
  HAL_NVIC_SetPriority(TIM2_IRQn,0,0);
  HAL_NVIC_EnableIRQ(TIM2_IRQn);
  /* USER CODE END TIM2_Init 2 */

}

static void MX_USART2_UART_Init(void)
{

  huart2.Instance = USART2;
  huart2.Init.BaudRate = 115200;
  huart2.Init.WordLength = UART_WORDLENGTH_8B;
  huart2.Init.StopBits = UART_STOPBITS_1;
  huart2.Init.Parity = UART_PARITY_NONE;
  huart2.Init.Mode = UART_MODE_TX_RX;
  huart2.Init.HwFlowCtl = UART_HWCONTROL_NONE;
  huart2.Init.OverSampling = UART_OVERSAMPLING_16;
  huart2.Init.OneBitSampling = UART_ONE_BIT_SAMPLE_DISABLE;
  huart2.AdvancedInit.AdvFeatureInit = UART_ADVFEATURE_NO_INIT;
  if (HAL_UART_Init(&huart2) != HAL_OK)
  {
    Error_Handler();
  }

}

static void MX_GPIO_Init(void)
{
  GPIO_InitTypeDef GPIO_InitStruct = {0};

  /* GPIO Ports Clock Enable */
  __HAL_RCC_GPIOE_CLK_ENABLE();
  __HAL_RCC_GPIOC_CLK_ENABLE();
  __HAL_RCC_GPIOH_CLK_ENABLE();
  __HAL_RCC_GPIOA_CLK_ENABLE();
  __HAL_RCC_GPIOB_CLK_ENABLE();
  __HAL_RCC_GPIOD_CLK_ENABLE();

  /*Configure GPIO pin Output Level */
  HAL_GPIO_WritePin(GPIOE, AUDIO_RST_Pin|LD_G_Pin|XL_CS_Pin, GPIO_PIN_RESET);

  /*Configure GPIO pin Output Level */
  HAL_GPIO_WritePin(GPIOB, LD_R_Pin|M3V3_REG_ON_Pin, GPIO_PIN_RESET);

  /*Configure GPIO pin Output Level */
  HAL_GPIO_WritePin(OTG_FS_PowerSwitchOn_GPIO_Port, OTG_FS_PowerSwitchOn_Pin, GPIO_PIN_SET);

  /*Configure GPIO pin Output Level */
  HAL_GPIO_WritePin(OTG_FS_VBUS_GPIO_Port, OTG_FS_VBUS_Pin, GPIO_PIN_RESET);

  /*Configure GPIO pin Output Level */
  HAL_GPIO_WritePin(GYRO_CS_GPIO_Port, GYRO_CS_Pin, GPIO_PIN_RESET);

  /*Configure GPIO pins : SAI1_MCK_Pin SAI1_FS_Pin SAI1_SCK_Pin SAI1_SD_Pin
                           AUDIO_DIN_Pin */
  GPIO_InitStruct.Pin = SAI1_MCK_Pin|SAI1_FS_Pin|SAI1_SCK_Pin|SAI1_SD_Pin
                          |AUDIO_DIN_Pin;
  GPIO_InitStruct.Mode = GPIO_MODE_AF_PP;
  GPIO_InitStruct.Pull = GPIO_NOPULL;
  GPIO_InitStruct.Speed = GPIO_SPEED_FREQ_VERY_HIGH;
  GPIO_InitStruct.Alternate = GPIO_AF13_SAI1;
  HAL_GPIO_Init(GPIOE, &GPIO_InitStruct);

  /*Configure GPIO pin : AUDIO_RST_Pin */
  GPIO_InitStruct.Pin = AUDIO_RST_Pin;
  GPIO_InitStruct.Mode = GPIO_MODE_OUTPUT_PP;
  GPIO_InitStruct.Pull = GPIO_NOPULL;
  GPIO_InitStruct.Speed = GPIO_SPEED_FREQ_HIGH;
  HAL_GPIO_Init(AUDIO_RST_GPIO_Port, &GPIO_InitStruct);

  /*Configure GPIO pins : MFX_IRQ_OUT_Pin OTG_FS_OverCurrent_Pin */
  GPIO_InitStruct.Pin = MFX_IRQ_OUT_Pin|OTG_FS_OverCurrent_Pin;
  GPIO_InitStruct.Mode = GPIO_MODE_EVT_RISING;
  GPIO_InitStruct.Pull = GPIO_NOPULL;
  HAL_GPIO_Init(GPIOC, &GPIO_InitStruct);

  /*Configure GPIO pins : PC0 MAG_INT_Pin MAG_DRDY_Pin */
  GPIO_InitStruct.Pin = GPIO_PIN_0|MAG_INT_Pin|MAG_DRDY_Pin;
  GPIO_InitStruct.Mode = GPIO_MODE_INPUT;
  GPIO_InitStruct.Pull = GPIO_NOPULL;
  HAL_GPIO_Init(GPIOC, &GPIO_InitStruct);

  /*Configure GPIO pins : VLCD_Pin SEG22_Pin SEG1_Pin SEG14_Pin
                           SEG9_Pin SEG13_Pin */
  GPIO_InitStruct.Pin = VLCD_Pin|SEG22_Pin|SEG1_Pin|SEG14_Pin
                          |SEG9_Pin|SEG13_Pin;
  GPIO_InitStruct.Mode = GPIO_MODE_AF_PP;
  GPIO_InitStruct.Pull = GPIO_NOPULL;
  GPIO_InitStruct.Speed = GPIO_SPEED_FREQ_LOW;
  GPIO_InitStruct.Alternate = GPIO_AF11_LCD;
  HAL_GPIO_Init(GPIOC, &GPIO_InitStruct);

  /*Configure GPIO pins : JOY_CENTER_Pin JOY_LEFT_Pin JOY_RIGHT_Pin JOY_UP_Pin
                           JOY_DOWN_Pin */
  GPIO_InitStruct.Pin = JOY_CENTER_Pin|JOY_LEFT_Pin|JOY_RIGHT_Pin|JOY_UP_Pin
                          |JOY_DOWN_Pin;
  GPIO_InitStruct.Mode = GPIO_MODE_INPUT;
  GPIO_InitStruct.Pull = GPIO_PULLDOWN;
  HAL_GPIO_Init(GPIOA, &GPIO_InitStruct);

  /*Configure GPIO pin : MFX_WAKEUP_Pin */
  GPIO_InitStruct.Pin = MFX_WAKEUP_Pin;
  GPIO_InitStruct.Mode = GPIO_MODE_EVT_RISING;
  GPIO_InitStruct.Pull = GPIO_NOPULL;
  HAL_GPIO_Init(MFX_WAKEUP_GPIO_Port, &GPIO_InitStruct);

  /*Configure GPIO pins : SEG23_Pin SEG0_Pin COM0_Pin COM1_Pin
                           COM2_Pin SEG10_Pin */
  GPIO_InitStruct.Pin = SEG23_Pin|SEG0_Pin|COM0_Pin|COM1_Pin
                          |COM2_Pin|SEG10_Pin;
  GPIO_InitStruct.Mode = GPIO_MODE_AF_PP;
  GPIO_InitStruct.Pull = GPIO_NOPULL;
  GPIO_InitStruct.Speed = GPIO_SPEED_FREQ_LOW;
  GPIO_InitStruct.Alternate = GPIO_AF11_LCD;
  HAL_GPIO_Init(GPIOA, &GPIO_InitStruct);

  /*Configure GPIO pins : SEG21_Pin SEG2_Pin SEG20_Pin SEG3_Pin
                           SEG19_Pin SEG4_Pin SEG11_Pin SEG12_Pin
                           COM3_Pin */
  GPIO_InitStruct.Pin = SEG21_Pin|SEG2_Pin|SEG20_Pin|SEG3_Pin
                          |SEG19_Pin|SEG4_Pin|SEG11_Pin|SEG12_Pin
                          |COM3_Pin;
  GPIO_InitStruct.Mode = GPIO_MODE_AF_PP;
  GPIO_InitStruct.Pull = GPIO_NOPULL;
  GPIO_InitStruct.Speed = GPIO_SPEED_FREQ_LOW;
  GPIO_InitStruct.Alternate = GPIO_AF11_LCD;
  HAL_GPIO_Init(GPIOB, &GPIO_InitStruct);

  /*Configure GPIO pin : LD_R_Pin */
  GPIO_InitStruct.Pin = LD_R_Pin;
  GPIO_InitStruct.Mode = GPIO_MODE_OUTPUT_PP;
  GPIO_InitStruct.Pull = GPIO_PULLUP;
  GPIO_InitStruct.Speed = GPIO_SPEED_FREQ_VERY_HIGH;
  HAL_GPIO_Init(LD_R_GPIO_Port, &GPIO_InitStruct);

  /*Configure GPIO pin : LD_G_Pin */
  GPIO_InitStruct.Pin = LD_G_Pin;
  GPIO_InitStruct.Mode = GPIO_MODE_OUTPUT_PP;
  GPIO_InitStruct.Pull = GPIO_PULLUP;
  GPIO_InitStruct.Speed = GPIO_SPEED_FREQ_VERY_HIGH;
  HAL_GPIO_Init(LD_G_GPIO_Port, &GPIO_InitStruct);

  /*Configure GPIO pin : AUDIO_CLK_Pin */
  GPIO_InitStruct.Pin = AUDIO_CLK_Pin;
  GPIO_InitStruct.Mode = GPIO_MODE_AF_PP;
  GPIO_InitStruct.Pull = GPIO_NOPULL;
  GPIO_InitStruct.Speed = GPIO_SPEED_FREQ_LOW;
  GPIO_InitStruct.Alternate = GPIO_AF13_SAI1;
  HAL_GPIO_Init(AUDIO_CLK_GPIO_Port, &GPIO_InitStruct);

  /*Configure GPIO pins : QSPI_CLK_Pin QSPI_CS_Pin QSPI_D0_Pin QSPI_D1_Pin
                           QSPI_D2_Pin QSPI_D3_Pin */
  GPIO_InitStruct.Pin = QSPI_CLK_Pin|QSPI_CS_Pin|QSPI_D0_Pin|QSPI_D1_Pin
                          |QSPI_D2_Pin|QSPI_D3_Pin;
  GPIO_InitStruct.Mode = GPIO_MODE_AF_PP;
  GPIO_InitStruct.Pull = GPIO_NOPULL;
  GPIO_InitStruct.Speed = GPIO_SPEED_FREQ_VERY_HIGH;
  GPIO_InitStruct.Alternate = GPIO_AF10_QUADSPI;
  HAL_GPIO_Init(GPIOE, &GPIO_InitStruct);

  /*Configure GPIO pins : SEG18_Pin SEG5_Pin SEG17_Pin SEG6_Pin
                           SEG16_Pin SEG7_Pin SEG15_Pin SEG8_Pin */
  GPIO_InitStruct.Pin = SEG18_Pin|SEG5_Pin|SEG17_Pin|SEG6_Pin
                          |SEG16_Pin|SEG7_Pin|SEG15_Pin|SEG8_Pin;
  GPIO_InitStruct.Mode = GPIO_MODE_AF_PP;
  GPIO_InitStruct.Pull = GPIO_NOPULL;
  GPIO_InitStruct.Speed = GPIO_SPEED_FREQ_LOW;
  GPIO_InitStruct.Alternate = GPIO_AF11_LCD;
  HAL_GPIO_Init(GPIOD, &GPIO_InitStruct);

  /*Configure GPIO pins : OTG_FS_PowerSwitchOn_Pin OTG_FS_VBUS_Pin */
  GPIO_InitStruct.Pin = OTG_FS_PowerSwitchOn_Pin|OTG_FS_VBUS_Pin;
  GPIO_InitStruct.Mode = GPIO_MODE_OUTPUT_PP;
  GPIO_InitStruct.Pull = GPIO_NOPULL;
  GPIO_InitStruct.Speed = GPIO_SPEED_FREQ_LOW;
  HAL_GPIO_Init(GPIOC, &GPIO_InitStruct);

  /*Configure GPIO pins : OTG_FS_DM_Pin OTG_FS_DP_Pin */
  GPIO_InitStruct.Pin = OTG_FS_DM_Pin|OTG_FS_DP_Pin;
  GPIO_InitStruct.Mode = GPIO_MODE_AF_PP;
  GPIO_InitStruct.Pull = GPIO_NOPULL;
  GPIO_InitStruct.Speed = GPIO_SPEED_FREQ_VERY_HIGH;
  GPIO_InitStruct.Alternate = GPIO_AF10_OTG_FS;
  HAL_GPIO_Init(GPIOA, &GPIO_InitStruct);

  /*Configure GPIO pins : EXT_RST_Pin GYRO_INT1_Pin */
  GPIO_InitStruct.Pin = EXT_RST_Pin|GYRO_INT1_Pin;
  GPIO_InitStruct.Mode = GPIO_MODE_EVT_RISING;
  GPIO_InitStruct.Pull = GPIO_NOPULL;
  HAL_GPIO_Init(GPIOD, &GPIO_InitStruct);

  /*Configure GPIO pin : GYRO_CS_Pin */
  GPIO_InitStruct.Pin = GYRO_CS_Pin;
  GPIO_InitStruct.Mode = GPIO_MODE_OUTPUT_PP;
  GPIO_InitStruct.Pull = GPIO_NOPULL;
  GPIO_InitStruct.Speed = GPIO_SPEED_FREQ_VERY_HIGH;
  HAL_GPIO_Init(GYRO_CS_GPIO_Port, &GPIO_InitStruct);

  /*Configure GPIO pin : M3V3_REG_ON_Pin */
  GPIO_InitStruct.Pin = M3V3_REG_ON_Pin;
  GPIO_InitStruct.Mode = GPIO_MODE_OUTPUT_PP;
  GPIO_InitStruct.Pull = GPIO_NOPULL;
  GPIO_InitStruct.Speed = GPIO_SPEED_FREQ_LOW;
  HAL_GPIO_Init(M3V3_REG_ON_GPIO_Port, &GPIO_InitStruct);

  /*Configure GPIO pin : GYRO_INT2_Pin */
  GPIO_InitStruct.Pin = GYRO_INT2_Pin;
  GPIO_InitStruct.Mode = GPIO_MODE_EVT_RISING;
  GPIO_InitStruct.Pull = GPIO_NOPULL;
  HAL_GPIO_Init(GYRO_INT2_GPIO_Port, &GPIO_InitStruct);

  /*Configure GPIO pin : XL_CS_Pin */
  GPIO_InitStruct.Pin = XL_CS_Pin;
  GPIO_InitStruct.Mode = GPIO_MODE_OUTPUT_PP;
  GPIO_InitStruct.Pull = GPIO_NOPULL;
  GPIO_InitStruct.Speed = GPIO_SPEED_FREQ_LOW;
  HAL_GPIO_Init(XL_CS_GPIO_Port, &GPIO_InitStruct);

  /*Configure GPIO pin : XL_INT_Pin */
  GPIO_InitStruct.Pin = XL_INT_Pin;
  GPIO_InitStruct.Mode = GPIO_MODE_EVT_RISING;
  GPIO_InitStruct.Pull = GPIO_NOPULL;
  HAL_GPIO_Init(XL_INT_GPIO_Port, &GPIO_InitStruct);

}

void StartDefaultTask(void *argument)
{
  /* USER CODE BEGIN 5 */
  if(BSP_GYRO_Init() != HAL_OK)  {
	    /* Initialization Error */
	    Error_Handler();
  }
  // RNG EXAMPLE

  int32_t x_rate = 0;
  int32_t y_rate = 0;
  int max_x = 0;
  int min_x = 0;

  /* Infinite loop */
  for(;;)
  {
    osDelay(1);

	/* Get Raw values */

	BSP_GYRO_GetXYZ(gbl_buffer);
//	sprintf((char*)gbl_uart2_transmitBuffer,"X:%d Y:%d Z:%d\r\n", (int32_t)gbl_buffer[0], (int32_t)gbl_buffer[1], (int32_t)gbl_buffer[2]);
//	HAL_UART_Transmit(&huart2, gbl_uart2_transmitBuffer, strlen((char *)gbl_uart2_transmitBuffer),100);

	// x value processing
	x_rate = gbl_buffer[0] - DEFAULT_X_SUB_VAL;
	if ((x_rate < X_MIN_RANGE) || (x_rate > X_MAX_RANGE))
	{
		movements.total_dx += x_rate;

		movements.x_pos = (movements.total_dx - X_TOTAL_MIN_RANGE) / (X_DIVIDING_FACTOR);

		if (myBinarySem01Handle != NULL && osSemaphoreAcquire(myBinarySem01Handle,0) == osOK)
		{

			if (movements.x_pos < 1)
			{
				calced_x = 1;
			}
			else if ( movements.x_pos > 20)
			{
				calced_x = 20;
			}
			else
			{
				calced_x = movements.x_pos;
			}
			osSemaphoreRelease(myBinarySem01Handle);
		}
	}

	y_rate = gbl_buffer[1] - DEFAULT_Y_SUB_VAL;
	if (myBinarySem01Handle != NULL && osSemaphoreAcquire(myBinarySem01Handle,0) == osOK)
	{
		if((y_rate < Y_MIN_RANGE) || (y_rate > Y_MAX_RANGE))
		{
			movements.total_dy += y_rate;

			movements.y_pos = (movements.total_dy - Y_TOTAL_MIN_RANGE) / (Y_DIVIDING_FACTOR);
			// If range is exceeded go stay only at the bounds
			if (movements.y_pos < 1)
			{
				calced_y = 1;
			}
			else if ( movements.y_pos > 40)
			{
				calced_y = 40;
			}
			else
			{
				calced_y = movements.y_pos;
			}
		}
		osSemaphoreRelease(myBinarySem01Handle);
	}

  }
  /* USER CODE END 5 */
}

void StartTask02(void *argument)
{
  /* USER CODE BEGIN StartTask02 */
	unsigned int next_tick = 0;
	int score = 0;
	int level =1;
	  // Level 1 round time
	  int round_time = 1000;
	  int round_iter = 1;
	// Init the game board
	for(int i = 0; i <BOARD_HEIGHT;i++)
	{
		strcpy(game_board[i],"xxxxxxxxxxxxxxxxxxxx");
	}
//
	sprintf((char*)gbl_uart2_transmitBuffer,"Score:%d Level: %d Round Iter: %d Round Time: %d Time: %d ms\r\n", score,level,round_iter,round_time, master_tick);
	HAL_UART_Transmit(&huart2, gbl_uart2_transmitBuffer, strlen((char *)gbl_uart2_transmitBuffer),100);
	// Save cursor at first position
	set_home();

	// Print the game board
	for(int i = 0; i < BOARD_HEIGHT;i++)
	{
		sprintf((char*)gbl_uart2_transmitBuffer,"%s\r\n", game_board[i]);
		HAL_UART_Transmit(&huart2, gbl_uart2_transmitBuffer, strlen((char *)gbl_uart2_transmitBuffer),100);

	}
	return_home();
	// Init positions

	positions.b_pos[0] = 1;
	positions.b_pos[1] = 1;
	positions.m_pos[0] = 1;
	positions.m_pos[1] = 1;
	positions.s_pos[0] = 1;
	positions.s_pos[1] = 1;
	positions.curr_pos[0] = 1;
	positions.curr_pos[1] = 1;
	// Generate initial random values
	  unsigned int random_x;
	  unsigned int random_y;
	  // random value for x
	  HAL_RNG_GenerateRandomNumber(&hrng,&random_x);
	  HAL_RNG_GenerateRandomNumber(&hrng,&random_y);
	  positions.rand_pos[0]= random_limit(random_x,BOARD_WIDTH);
	  positions.rand_pos[1] = random_limit(random_y,BOARD_HEIGHT);
	  draw_char(positions.rand_pos[0],positions.rand_pos[1],' ');

	  int last_x = 1;
	  int last_y = 1;
  /* Infinite loop */
  for(;;)
  {

	  // master tick updates once every .01s. Update the board every .05s
	  // Done this way to avoid overloading an interrupt function
	  if((master_tick> next_tick) && (level <= 6))
	  {
		  // Draw there the point is every time
		  draw_char(positions.rand_pos[0],positions.rand_pos[1],' ');
		  move_cursor(0,1);
		  sprintf((char*)gbl_uart2_transmitBuffer,"\x1b[K");
		  HAL_UART_Transmit(&huart2, gbl_uart2_transmitBuffer, strlen((char *)gbl_uart2_transmitBuffer),100);
//
		  sprintf((char*)gbl_uart2_transmitBuffer,"Score:%d Level: %d Round Iter: %d Round Time: %d Time: %d ms\r\n", score,level,round_iter,round_time, master_tick);
		  HAL_UART_Transmit(&huart2, gbl_uart2_transmitBuffer, strlen((char *)gbl_uart2_transmitBuffer),100);

		  // First update positions
		  next_tick = master_tick + 5;

		  // Recover the original input
		  //draw_char(positions.s_pos[0],positions.s_pos[1],'x');
		  last_x = positions.s_pos[0];
		  last_y = positions.s_pos[1];
		  if (myBinarySem01Handle != NULL && osSemaphoreAcquire(myBinarySem01Handle,0) == osOK)
		  {
		  update_tail_positions(&positions, calced_x, calced_y);
		  osSemaphoreRelease(myBinarySem01Handle);
		  }
//		  if ((positions.s_pos[0] != positions.m_pos[0]) && (positions.s_pos[1] != positions.m_pos[1]))
//		  {

		  draw_char(last_x,last_y,'x');
		  draw_char(positions.s_pos[0],positions.s_pos[1],'.');
//		  }
//		  if ((positions.m_pos[0] != positions.b_pos[0]) && (positions.m_pos[1] != positions.b_pos[1]))
//		  {
		  draw_char(positions.m_pos[0],positions.m_pos[1],'o');
//		  }
//		  if ((positions.b_pos[0] != positions.curr_pos[0]) && (positions.b_pos[1] != positions.curr_pos[1]))
//		  {
		  draw_char(positions.b_pos[0],positions.b_pos[1],'O');
//		  }
		  draw_char(positions.curr_pos[0],positions.curr_pos[1],'@');

		  // If cursor is on the random character when time ends
		  if((positions.rand_pos[0] == positions.curr_pos[0]) && (positions.rand_pos[1] == positions.curr_pos[1]) && (master_tick > round_time))
		  {
			  // Increment the score
			  score++;
			  round_iter++;

			  master_tick = 0;
			  next_tick = 0;

			  // Fill in old character
			  draw_char(positions.rand_pos[0],positions.rand_pos[1],'x');
			  // Draw new random character
			  HAL_RNG_GenerateRandomNumber(&hrng,&random_x);
			  HAL_RNG_GenerateRandomNumber(&hrng,&random_y);
			  positions.rand_pos[0]= random_limit(random_x,BOARD_WIDTH);
			  positions.rand_pos[1] = random_limit(random_y,BOARD_HEIGHT);
			  draw_char(positions.rand_pos[0],positions.rand_pos[1],' ');

		  }
		  else if (master_tick > round_time)
		  {
			  round_iter++;

			  master_tick = 0;
			  next_tick = 0;
			  draw_char(positions.rand_pos[0],positions.rand_pos[1],'x');
			  // Draw new random character
			  HAL_RNG_GenerateRandomNumber(&hrng,&random_x);
			  HAL_RNG_GenerateRandomNumber(&hrng,&random_y);
			  positions.rand_pos[0]= random_limit(random_x,BOARD_WIDTH);
			  positions.rand_pos[1] = random_limit(random_y,BOARD_HEIGHT);
			  draw_char(positions.rand_pos[0],positions.rand_pos[1],' ');
		  }
		  if (round_iter > ROUNDS_PER_LEVEL)
		  {
			  // Decrease round time and reset round iterations
			  level++;
			  round_time = (round_time * 2 / 3);
			  round_iter = 1;
		  }
	  }

    osDelay(1);

  }
  /* USER CODE END StartTask02 */
}

 /**
  * @brief  Period elapsed callback in non blocking mode
  * @note   This function is called  when TIM1 interrupt took place, inside
  * HAL_TIM_IRQHandler(). It makes a direct call to HAL_IncTick() to increment
  * a global variable "uwTick" used as application time base.
  * @param  htim : TIM handle
  * @retval None
  */
void HAL_TIM_PeriodElapsedCallback(TIM_HandleTypeDef *htim)
{
  if (htim->Instance == TIM1) {
    HAL_IncTick();
  }
}

void Error_Handler(void)
{
}

/************************ (C) COPYRIGHT STMicroelectronics *****END OF FILE****/
